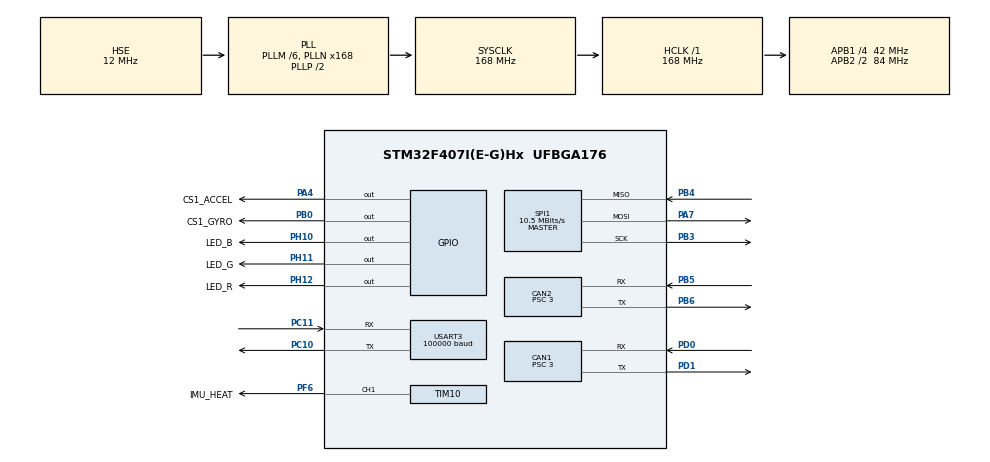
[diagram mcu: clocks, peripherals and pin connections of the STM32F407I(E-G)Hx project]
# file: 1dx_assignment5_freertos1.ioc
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CAN1.ABOM=ENABLE
CAN1.AWUM=ENABLE
CAN1.BS1=CAN_BS1_7TQ
CAN1.BS2=CAN_BS2_6TQ
CAN1.CalculateBaudRate=1000000
CAN1.CalculateTimeBit=1000
CAN1.CalculateTimeQuantum=71.42857142857143
CAN1.Mode=CAN_MODE_NORMAL
CAN1.NART=ENABLE
CAN1.Prescaler=3
CAN1.TXFP=ENABLE
CAN2.BS1=CAN_BS1_7TQ
CAN2.BS2=CAN_BS2_6TQ
CAN2.CalculateBaudRate=1000000
CAN2.CalculateTimeBit=1000
CAN2.CalculateTimeQuantum=71.42857142857143
CAN2.Prescaler=3
Dma.Request0=SPI1_RX
Dma.Request1=SPI1_TX
Dma.Request2=USART3_RX
Dma.SPI1_RX.0.Direction=DMA_PERIPH_TO_MEMORY
Dma.SPI1_RX.0.FIFOMode=DMA_FIFOMODE_DISABLE
Dma.SPI1_RX.0.Instance=DMA2_Stream2
Dma.SPI1_RX.0.MemDataAlignment=DMA_MDATAALIGN_BYTE
Dma.SPI1_RX.0.MemInc=DMA_MINC_ENABLE
Dma.SPI1_RX.0.Mode=DMA_NORMAL
Dma.SPI1_RX.0.PeriphDataAlignment=DMA_PDATAALIGN_BYTE
Dma.SPI1_RX.0.PeriphInc=DMA_PINC_DISABLE
Dma.SPI1_RX.0.Priority=DMA_PRIORITY_VERY_HIGH
Dma.SPI1_TX.1.Direction=DMA_MEMORY_TO_PERIPH
Dma.SPI1_TX.1.FIFOMode=DMA_FIFOMODE_DISABLE
Dma.SPI1_TX.1.Instance=DMA2_Stream3
Dma.SPI1_TX.1.MemDataAlignment=DMA_MDATAALIGN_BYTE
Dma.SPI1_TX.1.MemInc=DMA_MINC_ENABLE
Dma.SPI1_TX.1.Mode=DMA_NORMAL
Dma.SPI1_TX.1.PeriphDataAlignment=DMA_PDATAALIGN_BYTE
Dma.SPI1_TX.1.PeriphInc=DMA_PINC_DISABLE
Dma.SPI1_TX.1.Priority=DMA_PRIORITY_HIGH
Dma.USART3_RX.2.Direction=DMA_PERIPH_TO_MEMORY
Dma.USART3_RX.2.FIFOMode=DMA_FIFOMODE_DISABLE
Dma.USART3_RX.2.Instance=DMA1_Stream1
Dma.USART3_RX.2.MemDataAlignment=DMA_MDATAALIGN_BYTE
Dma.USART3_RX.2.MemInc=DMA_MINC_ENABLE
Dma.USART3_RX.2.Mode=DMA_NORMAL
Dma.USART3_RX.2.PeriphDataAlignment=DMA_PDATAALIGN_BYTE
Dma.USART3_RX.2.PeriphInc=DMA_PINC_DISABLE
Dma.USART3_RX.2.Priority=DMA_PRIORITY_LOW
FREERTOS.CountingSemaphores01=CAN1CountingSem,3,Dynamic,NULL;CAN2CountingSem,3,Dynamic,NULL
FREERTOS.Queues01=can1_send_fifo,16,can_device_transmit_member,0,Dynamic,NULL,NULL;can2_send_fifo,16,can_device_transmit_member,0,Dynamic,NULL,NULL
FREERTOS.Tasks01=CAN1_Sending_Service,40,256,can1_sending_service,As weak,NULL,Dynamic,NULL,NULL;CAN2_Sending_Service,40,256,can2_sending_service,As weak,NULL,Dynamic,NULL,NULL;DJI_Motor_Service,40,256,DJI_motor_service,As weak,NULL,Dynamic,NULL,NULL;LED_R,8,128,led_r,As weak,NULL,Dynamic,NULL,NULL;LED_G,8,128,led_g,As weak,NULL,Dynamic,NULL,NULL;LED_B,8,128,led_b,As weak,NULL,Dynamic,NULL,NULL;INS_Task,32,1024,StartINSTask,As weak,NULL,Dynamic,NULL,NULL;MotorAssignment,32,512,StartM3508Task,As weak,NULL,Dynamic,NULL,NULL;PMTask,8,128,StartPMTask,As weak,NULL,Dynamic,NULL,NULL
FREERTOS.configMAX_TASK_NAME_LEN=32
FREERTOS.configMINIMAL_STACK_SIZE=128
FREERTOS.configTOTAL_HEAP_SIZE=50000
FREERTOS.configUSE_NEWLIB_REENTRANT=1
Mcu.Family=STM32F4
Mcu.Name=STM32F407I(E-G)Hx
Mcu.Package=UFBGA176
NVIC.CAN1_RX0_IRQn=true\:5\:0\:false\:false\:true\:true\:true\:true\:true
NVIC.CAN1_TX_IRQn=true\:5\:0\:false\:false\:true\:true\:true\:true\:true
NVIC.CAN2_RX1_IRQn=true\:5\:0\:false\:false\:true\:true\:true\:true\:true
NVIC.CAN2_TX_IRQn=true\:5\:0\:false\:false\:true\:true\:true\:true\:true
NVIC.DMA1_Stream1_IRQn=true\:5\:0\:false\:false\:true\:true\:false\:true\:true
NVIC.DMA2_Stream2_IRQn=true\:5\:0\:false\:false\:true\:false\:false\:true\:true
NVIC.DMA2_Stream3_IRQn=true\:5\:0\:false\:false\:true\:true\:false\:true\:true
NVIC.PriorityGroup=NVIC_PRIORITYGROUP_4
NVIC.TIM7_IRQn=true\:15\:0\:false\:false\:true\:false\:false\:true\:true
NVIC.TimeBase=TIM7_IRQn
NVIC.TimeBaseIP=TIM7
NVIC.USART3_IRQn=true\:5\:0\:false\:false\:true\:true\:true\:true\:true
PA13.Mode=Serial_Wire
PA13.Signal=SYS_JTMS-SWDIO
PA14.Mode=Serial_Wire
PA14.Signal=SYS_JTCK-SWCLK
PA4.GPIO_Label=CS1_ACCEL
PA4.GPIO_PuPd=GPIO_PULLUP
PA4.GPIO_Speed=GPIO_SPEED_FREQ_HIGH
PA4.PinState=GPIO_PIN_SET
PA4.Signal=GPIO_Output
PA7.GPIO_PuPd=GPIO_PULLUP
PA7.Mode=Full_Duplex_Master
PA7.Signal=SPI1_MOSI
PB0.GPIO_Label=CS1_GYRO
PB0.GPIO_PuPd=GPIO_PULLUP
PB0.GPIO_Speed=GPIO_SPEED_FREQ_HIGH
PB0.PinState=GPIO_PIN_SET
PB0.Signal=GPIO_Output
PB3.GPIO_PuPd=GPIO_PULLUP
PB3.Mode=Full_Duplex_Master
PB3.Signal=SPI1_SCK
PB4.GPIO_PuPd=GPIO_PULLUP
PB4.Mode=Full_Duplex_Master
PB4.Signal=SPI1_MISO
PB5.Mode=CAN_Activate
PB5.Signal=CAN2_RX
PB6.Mode=CAN_Activate
PB6.Signal=CAN2_TX
PC10.Mode=Asynchronous
PC10.Signal=USART3_TX
PC11.Mode=Asynchronous
PC11.Signal=USART3_RX
PD0.Mode=CAN_Activate
PD0.Signal=CAN1_RX
PD1.Mode=CAN_Activate
PD1.Signal=CAN1_TX
PF6.GPIO_Label=IMU_HEAT
PF6.GPIO_PuPd=GPIO_PULLUP
PF6.GPIO_Speed=GPIO_SPEED_FREQ_HIGH
PF6.Signal=S_TIM10_CH1
PH0-OSC_IN.Mode=HSE-External-Oscillator
PH0-OSC_IN.Signal=RCC_OSC_IN
PH1-OSC_OUT.Mode=HSE-External-Oscillator
PH1-OSC_OUT.Signal=RCC_OSC_OUT
PH10.GPIO_Label=LED_B
PH10.PinState=GPIO_PIN_SET
PH10.Signal=GPIO_Output
PH11.GPIO_Label=LED_G
PH11.PinState=GPIO_PIN_SET
PH11.Signal=GPIO_Output
PH12.GPIO_Label=LED_R
PH12.PinState=GPIO_PIN_SET
PH12.Signal=GPIO_Output
ProjectManager.HeapSize=0x200
ProjectManager.StackSize=0x400
ProjectManager.TargetToolchain=CMake
RCC.48MHZClocksFreq_Value=84000000
RCC.AHBFreq_Value=168000000
RCC.APB1CLKDivider=RCC_HCLK_DIV4
RCC.APB1Freq_Value=42000000
RCC.APB1TimFreq_Value=84000000
RCC.APB2CLKDivider=RCC_HCLK_DIV2
RCC.APB2Freq_Value=84000000
RCC.APB2TimFreq_Value=168000000
RCC.CortexFreq_Value=168000000
RCC.HCLKFreq_Value=168000000
RCC.HSE_VALUE=12000000
RCC.HSI_VALUE=16000000
RCC.LSE_VALUE=32768
RCC.PLLM=6
RCC.PLLN=168
RCC.PLLSourceVirtual=RCC_PLLSOURCE_HSE
RCC.SYSCLKFreq_VALUE=168000000
RCC.SYSCLKSource=RCC_SYSCLKSOURCE_PLLCLK
RCC.VCOOutputFreq_Value=336000000
SH.S_TIM10_CH1.0=TIM10_CH1,PWM Generation1 CH1
SPI1.BaudRatePrescaler=SPI_BAUDRATEPRESCALER_8
SPI1.CLKPhase=SPI_PHASE_2EDGE
SPI1.CLKPolarity=SPI_POLARITY_HIGH
SPI1.CalculateBaudRate=10.5 MBits/s
SPI1.Direction=SPI_DIRECTION_2LINES
SPI1.Mode=SPI_MODE_MASTER
SPI1.VirtualType=VM_MASTER
STMicroelectronics.X-CUBE-ALGOBUILD.1.5.0.LibraryCcDSPOoLibraryJjDSPOoLibrary=true
TIM10.Channel=TIM_CHANNEL_1
TIM10.Period=2000-1
TIM10.Prescaler=84-1
USART3.BaudRate=100000
USART3.Parity=PARITY_EVEN
USART3.VirtualMode=VM_ASYNC
VP_FREERTOS_VS_CMSIS_V2.Mode=CMSIS_V2
VP_STMicroelectronics.X-CUBE-ALGOBUILD_VS_DSPOoLibraryJjLibrary_1.5.0_1.5.0.Mode=DSPOoLibraryJjLibrary
VP_SYS_VS_tim7.Mode=TIM7
VP_TIM10_VS_ClockSourceINT.Mode=Enable_Timer
board=custom

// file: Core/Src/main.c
/* USER CODE BEGIN Header */
/**
  ******************************************************************************
  * @file           : main.c
  * @brief          : Main program body
  ******************************************************************************
  * @attention
  *
  * Copyright (c) 2026 STMicroelectronics.
  * All rights reserved.
  *
  * This software is licensed under terms that can be found in the LICENSE file
  * in the root directory of this software component.
  * If no LICENSE file comes with this software, it is provided AS-IS.
  *
  ******************************************************************************
  */
/* USER CODE END Header */
#include "main.h"
#include "cmsis_os.h"
#include "can.h"
#include "dma.h"
#include "spi.h"
#include "tim.h"
#include "usart.h"
#include "gpio.h"

/* USER CODE BEGIN Includes */
#include "BMI088driver.h"
#include "bsp_dwt.h"
#include "remote_ctrl.h"
/* USER CODE END Includes */

void SystemClock_Config(void);
void MX_FREERTOS_Init(void);

/* USER CODE BEGIN 0 */
void bsp_can_init() {
    HAL_CAN_Start(&hcan1);
    HAL_CAN_ActivateNotification(&hcan1,  CAN_IT_RX_FIFO0_MSG_PENDING | CAN_IT_TX_MAILBOX_EMPTY);
    HAL_CAN_Start(&hcan2);
    HAL_CAN_ActivateNotification(&hcan2,  CAN_IT_RX_FIFO1_MSG_PENDING | CAN_IT_TX_MAILBOX_EMPTY);
}
/* USER CODE END 0 */

int main(void)
{

  /* USER CODE BEGIN 1 */
  __HAL_RCC_SYSCLK_CONFIG(RCC_SYSCLKSOURCE_HSI);
  /* USER CODE END 1 */

  /* MCU Configuration--------------------------------------------------------*/

  /* Reset of all peripherals, Initializes the Flash interface and the Systick. */
  HAL_Init();

  /* Configure the system clock */
  SystemClock_Config();

  /* Initialize all configured peripherals */
  MX_GPIO_Init();
  MX_DMA_Init();
  MX_CAN1_Init();
  MX_CAN2_Init();
  MX_SPI1_Init();
  MX_TIM10_Init();
  MX_USART3_UART_Init();
  /* USER CODE BEGIN 2 */
  /* USER CODE BEGIN 2 */
  DWT_Init(168);
  while (BMI088_init(&hspi1, 1) != BMI088_NO_ERROR)
    ;
    bsp_can_init();
  remote_ctrl_init();
  /* USER CODE END 2 */

  /* Init scheduler */
  osKernelInitialize();  /* Call init function for freertos objects (in cmsis_os2.c) */
  MX_FREERTOS_Init();

  /* Start scheduler */
  osKernelStart();

  /* We should never get here as control is now taken by the scheduler */

  /* Infinite loop */
  while (1)
  {

  }
}

void SystemClock_Config(void)
{
  RCC_OscInitTypeDef RCC_OscInitStruct = {0};
  RCC_ClkInitTypeDef RCC_ClkInitStruct = {0};

  /** Configure the main internal regulator output voltage
  */
  __HAL_RCC_PWR_CLK_ENABLE();
  __HAL_PWR_VOLTAGESCALING_CONFIG(PWR_REGULATOR_VOLTAGE_SCALE1);

  /** Initializes the RCC Oscillators according to the specified parameters
  * in the RCC_OscInitTypeDef structure.
  */
  RCC_OscInitStruct.OscillatorType = RCC_OSCILLATORTYPE_HSE;
  RCC_OscInitStruct.HSEState = RCC_HSE_ON;
  RCC_OscInitStruct.PLL.PLLState = RCC_PLL_ON;
  RCC_OscInitStruct.PLL.PLLSource = RCC_PLLSOURCE_HSE;
  RCC_OscInitStruct.PLL.PLLM = 6;
  RCC_OscInitStruct.PLL.PLLN = 168;
  RCC_OscInitStruct.PLL.PLLP = RCC_PLLP_DIV2;
  RCC_OscInitStruct.PLL.PLLQ = 4;
  if (HAL_RCC_OscConfig(&RCC_OscInitStruct) != HAL_OK)
  {
    Error_Handler();
  }

  /** Initializes the CPU, AHB and APB buses clocks
  */
  RCC_ClkInitStruct.ClockType = RCC_CLOCKTYPE_HCLK|RCC_CLOCKTYPE_SYSCLK
                              |RCC_CLOCKTYPE_PCLK1|RCC_CLOCKTYPE_PCLK2;
  RCC_ClkInitStruct.SYSCLKSource = RCC_SYSCLKSOURCE_PLLCLK;
  RCC_ClkInitStruct.AHBCLKDivider = RCC_SYSCLK_DIV1;
  RCC_ClkInitStruct.APB1CLKDivider = RCC_HCLK_DIV4;
  RCC_ClkInitStruct.APB2CLKDivider = RCC_HCLK_DIV2;

  if (HAL_RCC_ClockConfig(&RCC_ClkInitStruct, FLASH_LATENCY_5) != HAL_OK)
  {
    Error_Handler();
  }
}

void HAL_TIM_PeriodElapsedCallback(TIM_HandleTypeDef *htim)
{
  if (htim->Instance == TIM7)
  {
    HAL_IncTick();
  }
}

void Error_Handler(void)
{
  __disable_irq();
  while (1)
  {
  }
}

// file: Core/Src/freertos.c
/* USER CODE BEGIN Header */
/**
  ******************************************************************************
  * File Name          : freertos.c
  * Description        : Code for freertos applications
  ******************************************************************************
  * @attention
  *
  * Copyright (c) 2026 STMicroelectronics.
  * All rights reserved.
  *
  * This software is licensed under terms that can be found in the LICENSE file
  * in the root directory of this software component.
  * If no LICENSE file comes with this software, it is provided AS-IS.
  *
  ******************************************************************************
  */
/* USER CODE END Header */

#include "FreeRTOS.h"
#include "task.h"
#include "main.h"
#include "cmsis_os.h"

/* USER CODE BEGIN PTD */
typedef struct {
    CAN_HandleTypeDef *hcan;
    uint32_t id;
    uint8_t len;
    uint8_t *buf_data;
}can_device_transmit_member;
/* USER CODE END PTD */

/* Definitions for CAN1_Sending_Service */
osThreadId_t CAN1_Sending_ServiceHandle;
const osThreadAttr_t CAN1_Sending_Service_attributes = {
  .name = "CAN1_Sending_Service",
  .stack_size = 256 * 4,
  .priority = (osPriority_t) osPriorityHigh,
};
/* Definitions for CAN2_Sending_Service */
osThreadId_t CAN2_Sending_ServiceHandle;
const osThreadAttr_t CAN2_Sending_Service_attributes = {
  .name = "CAN2_Sending_Service",
  .stack_size = 256 * 4,
  .priority = (osPriority_t) osPriorityHigh,
};
/* Definitions for DJI_Motor_Service */
osThreadId_t DJI_Motor_ServiceHandle;
const osThreadAttr_t DJI_Motor_Service_attributes = {
  .name = "DJI_Motor_Service",
  .stack_size = 256 * 4,
  .priority = (osPriority_t) osPriorityHigh,
};
/* Definitions for LED_R */
osThreadId_t LED_RHandle;
const osThreadAttr_t LED_R_attributes = {
  .name = "LED_R",
  .stack_size = 128 * 4,
  .priority = (osPriority_t) osPriorityLow,
};
/* Definitions for LED_G */
osThreadId_t LED_GHandle;
const osThreadAttr_t LED_G_attributes = {
  .name = "LED_G",
  .stack_size = 128 * 4,
  .priority = (osPriority_t) osPriorityLow,
};
/* Definitions for LED_B */
osThreadId_t LED_BHandle;
const osThreadAttr_t LED_B_attributes = {
  .name = "LED_B",
  .stack_size = 128 * 4,
  .priority = (osPriority_t) osPriorityLow,
};
/* Definitions for INS_Task */
osThreadId_t INS_TaskHandle;
const osThreadAttr_t INS_Task_attributes = {
  .name = "INS_Task",
  .stack_size = 1024 * 4,
  .priority = (osPriority_t) osPriorityAboveNormal,
};
/* Definitions for MotorAssignment */
osThreadId_t MotorAssignmentHandle;
const osThreadAttr_t MotorAssignment_attributes = {
  .name = "MotorAssignment",
  .stack_size = 512 * 4,
  .priority = (osPriority_t) osPriorityAboveNormal,
};
/* Definitions for PMTask */
osThreadId_t PMTaskHandle;
const osThreadAttr_t PMTask_attributes = {
  .name = "PMTask",
  .stack_size = 128 * 4,
  .priority = (osPriority_t) osPriorityLow,
};
/* Definitions for can1_send_fifo */
osMessageQueueId_t can1_send_fifoHandle;
const osMessageQueueAttr_t can1_send_fifo_attributes = {
  .name = "can1_send_fifo"
};
/* Definitions for can2_send_fifo */
osMessageQueueId_t can2_send_fifoHandle;
const osMessageQueueAttr_t can2_send_fifo_attributes = {
  .name = "can2_send_fifo"
};
/* Definitions for CAN1CountingSem */
osSemaphoreId_t CAN1CountingSemHandle;
const osSemaphoreAttr_t CAN1CountingSem_attributes = {
  .name = "CAN1CountingSem"
};
/* Definitions for CAN2CountingSem */
osSemaphoreId_t CAN2CountingSemHandle;
const osSemaphoreAttr_t CAN2CountingSem_attributes = {
  .name = "CAN2CountingSem"
};

void can1_sending_service(void *argument);
void can2_sending_service(void *argument);
void DJI_motor_service(void *argument);
void led_r(void *argument);
void led_g(void *argument);
void led_b(void *argument);
void StartINSTask(void *argument);
void StartM3508Task(void *argument);
void StartPMTask(void *argument);

void MX_FREERTOS_Init(void); /* (MISRA C 2004 rule 8.1) */

void MX_FREERTOS_Init(void) {

  /* Create the semaphores(s) */
  /* creation of CAN1CountingSem */
  CAN1CountingSemHandle = osSemaphoreNew(3, 3, &CAN1CountingSem_attributes);

  /* creation of CAN2CountingSem */
  CAN2CountingSemHandle = osSemaphoreNew(3, 3, &CAN2CountingSem_attributes);

  /* Create the queue(s) */
  /* creation of can1_send_fifo */
  can1_send_fifoHandle = osMessageQueueNew (16, sizeof(can_device_transmit_member), &can1_send_fifo_attributes);

  /* creation of can2_send_fifo */
  can2_send_fifoHandle = osMessageQueueNew (16, sizeof(can_device_transmit_member), &can2_send_fifo_attributes);

  /* Create the thread(s) */
  /* creation of CAN1_Sending_Service */
  CAN1_Sending_ServiceHandle = osThreadNew(can1_sending_service, NULL, &CAN1_Sending_Service_attributes);

  /* creation of CAN2_Sending_Service */
  CAN2_Sending_ServiceHandle = osThreadNew(can2_sending_service, NULL, &CAN2_Sending_Service_attributes);

  /* creation of DJI_Motor_Service */
  DJI_Motor_ServiceHandle = osThreadNew(DJI_motor_service, NULL, &DJI_Motor_Service_attributes);

  /* creation of LED_R */
  LED_RHandle = osThreadNew(led_r, NULL, &LED_R_attributes);

  /* creation of LED_G */
  LED_GHandle = osThreadNew(led_g, NULL, &LED_G_attributes);

  /* creation of LED_B */
  LED_BHandle = osThreadNew(led_b, NULL, &LED_B_attributes);

  /* creation of INS_Task */
  INS_TaskHandle = osThreadNew(StartINSTask, NULL, &INS_Task_attributes);

  /* creation of MotorAssignment */
  MotorAssignmentHandle = osThreadNew(StartM3508Task, NULL, &MotorAssignment_attributes);

  /* creation of PMTask */
  PMTaskHandle = osThreadNew(StartPMTask, NULL, &PMTask_attributes);

}

__weak void can1_sending_service(void *argument)
{
  for(;;)
  {
    osDelay(1);
  }
}

__weak void can2_sending_service(void *argument)
{
  for(;;)
  {
    osDelay(1);
  }
}

__weak void DJI_motor_service(void *argument)
{
  for(;;)
  {
    osDelay(1);
  }
}

__weak void led_r(void *argument)
{
  for(;;)
  {
    osDelay(1);
  }
}

__weak void led_g(void *argument)
{
  for(;;)
  {
    osDelay(1);
  }
}

__weak void led_b(void *argument)
{
  for(;;)
  {
    osDelay(1);
  }
}

__weak void StartINSTask(void *argument)
{
  for(;;)
  {
    osDelay(1);
  }
}

__weak void StartM3508Task(void *argument)
{
  for(;;)
  {
    osDelay(1);
  }
}

__weak void StartPMTask(void *argument)
{
  for(;;)
  {
    osDelay(1);
  }
}
